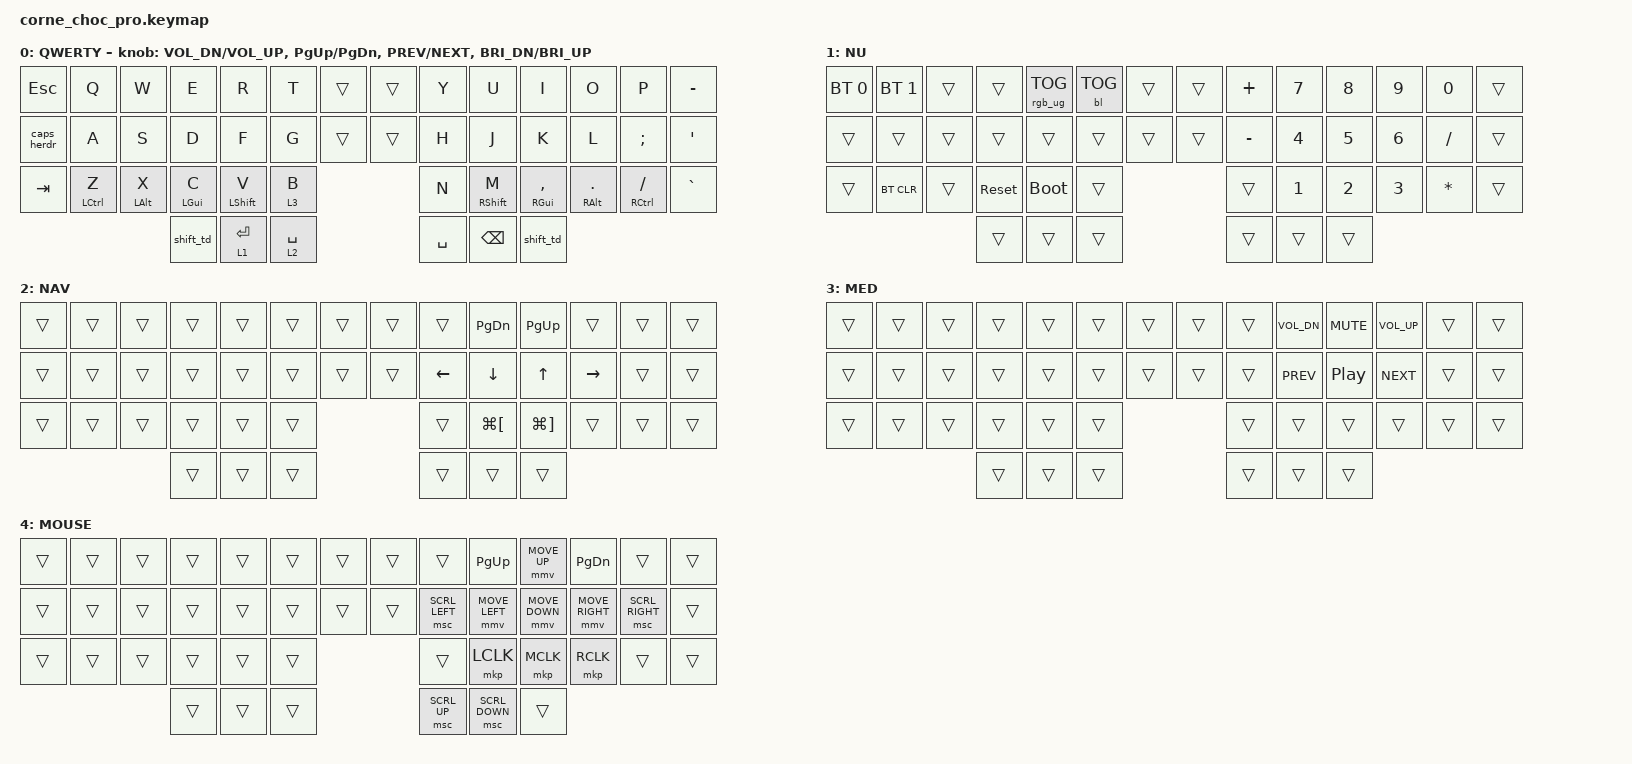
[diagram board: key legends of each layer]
/*
 * Copyright (c) 2020 The ZMK Contributors
 *
 * SPDX-License-Identifier: MIT
 */

#include <behaviors.dtsi>
#include <dt-bindings/zmk/backlight.h>
#include <dt-bindings/zmk/bt.h>
#include <dt-bindings/zmk/keys.h>
#include <dt-bindings/zmk/pointing.h>
#include <dt-bindings/zmk/rgb.h>

/ {
    chosen { zmk,physical-layout = &default_layout; };
};

/ {
    combos {
        compatible = "zmk,combos";

        caps_word {
            bindings = <&caps_word>;
            key-positions = <32 35>;
            timeout-ms = <30>;
            require-prior-idle-ms = <50>;
        };

        zoom_in {
            bindings = <&kp LG(PLUS)>;
            key-positions = <12 13>;
        };

        zoom_out {
            bindings = <&kp LG(MINUS)>;
            key-positions = <26 27>;
        };

        zoom_reset {
            bindings = <&kp LG(N0)>;
            key-positions = <38 39>;
        };

        left_paren {
            bindings = <&lpar_lt>;
            key-positions = <23 24>;
            timeout-ms = <30>;
            require-prior-idle-ms = <50>;
        };

        right_paren {
            bindings = <&rpar_gt>;
            key-positions = <24 25>;
            timeout-ms = <30>;
            require-prior-idle-ms = <50>;
        };

        left_bracket {
            bindings = <&kp LEFT_BRACKET>;
            key-positions = <35 36>;
        };

        right_bracket {
            bindings = <&kp RIGHT_BRACKET>;
            key-positions = <37 36>;
        };

        pipe {
            bindings = <&kp PIPE>;
            key-positions = <25 37>;
            timeout-ms = <30>;
            require-prior-idle-ms = <50>;
        };

        and {
            bindings = <&kp AMPS>;
            key-positions = <11 25>;
            timeout-ms = <30>;
            require-prior-idle-ms = <50>;
        };

        asteriks {
            bindings = <&kp ASTRK>;
            key-positions = <10 24>;
            timeout-ms = <30>;
            require-prior-idle-ms = <50>;
        };

        divide {
            bindings = <&kp SLASH>;
            key-positions = <24 36>;
            timeout-ms = <30>;
            require-prior-idle-ms = <50>;
        };

        plus {
            bindings = <&kp PLUS>;
            key-positions = <9 23>;
            timeout-ms = <30>;
            require-prior-idle-ms = <50>;
        };

        minus {
            bindings = <&kp MINUS>;
            key-positions = <23 35>;
            timeout-ms = <30>;
            require-prior-idle-ms = <50>;
        };

        carret {
            bindings = <&kp CARET>;
            key-positions = <8 22>;
            timeout-ms = <30>;
            require-prior-idle-ms = <50>;
        };

        under {
            bindings = <&kp UNDER>;
            key-positions = <22 34>;
            timeout-ms = <30>;
            require-prior-idle-ms = <50>;
        };

        percent {
            bindings = <&kp PERCENT>;
            key-positions = <5 19>;
            timeout-ms = <30>;
            require-prior-idle-ms = <50>;
        };

        tilde {
            bindings = <&kp TILDE>;
            key-positions = <19 33>;
            timeout-ms = <30>;
            require-prior-idle-ms = <50>;
        };

        dollar {
            bindings = <&kp DOLLAR>;
            key-positions = <4 18>;
            timeout-ms = <30>;
            require-prior-idle-ms = <50>;
        };

        equal {
            bindings = <&kp EQUAL>;
            key-positions = <18 19>;
            timeout-ms = <30>;
            require-prior-idle-ms = <50>;
        };

        hash {
            bindings = <&kp HASH>;
            key-positions = <17 3>;
            timeout-ms = <30>;
            require-prior-idle-ms = <50>;
        };

        backslash {
            bindings = <&kp BACKSLASH>;
            key-positions = <17 31>;
            timeout-ms = <30>;
            require-prior-idle-ms = <50>;
        };

        at {
            bindings = <&kp AT>;
            key-positions = <2 16>;
            timeout-ms = <30>;
            require-prior-idle-ms = <50>;
        };

        grave {
            bindings = <&kp GRAVE>;
            key-positions = <16 30>;
            timeout-ms = <30>;
            require-prior-idle-ms = <50>;
        };

        copy {
            bindings = <&kp LG(C)>;
            key-positions = <30 31>;
        };

        paste {
            bindings = <&kp LG(V)>;
            key-positions = <31 32>;
        };

        bang {
            bindings = <&kp EXCL>;
            key-positions = <16 17>;
            timeout-ms = <30>;
            require-prior-idle-ms = <50>;
        };

        questionmark {
            bindings = <&kp QUESTION>;
            key-positions = <17 18>;
            timeout-ms = <30>;
            require-prior-idle-ms = <50>;
        };

        cut {
            bindings = <&kp LG(X)>;
            key-positions = <30 32>;
        };

        mouseless_mouse {
            bindings = <&kp RIGHT_ALT>;
            key-positions = <23 24 25>;
        };

        mouseless_gui {
            bindings = <&kp RIGHT_GUI>;
            key-positions = <16 17 18>;
        };
    };

    behaviors {
        hml: homerow_mods_left {
            compatible = "zmk,behavior-hold-tap";
            label = "HOMEROW_MODS_LEFT";
            bindings = <&kp>, <&kp>;

            #binding-cells = <2>;
            tapping-term-ms = <280>;
            hold-trigger-key-positions = <7 8 9 10 11 12 13 21 22 23 24 25 26 27 34 35 36 37 38 39 43 44 45>;
            require-prior-idle-ms = <150>;
            flavor = "balanced";
            quick-tap-ms = <175>;
            hold-trigger-on-release;
        };

        hmr: homerow_mods_right {
            compatible = "zmk,behavior-hold-tap";
            label = "HOMEROW_MODS_RIGHT";
            bindings = <&kp>, <&kp>;

            #binding-cells = <2>;
            tapping-term-ms = <280>;
            hold-trigger-key-positions = <0 1 2 3 4 5 6 14 15 16 17 18 19 20 28 29 30 31 32 33 40 41 42>;
            require-prior-idle-ms = <150>;
            quick-tap-ms = <175>;
            flavor = "balanced";
            hold-trigger-on-release;
        };

        lpar_lt: lpar_lt {
            compatible = "zmk,behavior-mod-morph";
            label = "LPAR_LT";
            bindings = <&kp LPAR>, <&kp LT>;

            #binding-cells = <0>;
            mods = <(MOD_LSFT)>;
        };

        rpar_gt: rpar_gt {
            compatible = "zmk,behavior-mod-morph";
            label = "RPAR_GT";
            bindings = <&kp RPAR>, <&kp GT>;

            #binding-cells = <0>;
            mods = <(MOD_LSFT)>;
        };

        sl_mouse: sticky_layer_mouse {
            compatible = "zmk,behavior-sticky-key";
            #binding-cells = <1>;
            bindings = <&mo>;
            release-after-ms = <3000>;
            quick-release;
        };

        sk_shift: sticky_shift {
            compatible = "zmk,behavior-sticky-key";
            #binding-cells = <1>;
            bindings = <&kp>;
            release-after-ms = <1000>;
            quick-release;
        };

        shift_td: shift_tapdance {
            compatible = "zmk,behavior-tap-dance";
            label = "SHIFT_TAPDANCE";
            #binding-cells = <0>;
            tapping-term-ms = <200>;
            bindings = <&sk_shift LSHFT>, <&caps_word>;
        };

        caps_herdr: caps_or_herdr_prefix {
            compatible = "zmk,behavior-tap-dance";
            label = "CAPS_OR_HERDR_PREFIX";
            #binding-cells = <0>;
            tapping-term-ms = <200>;
            bindings = <&kp CAPSLOCK>, <&kp LC(B)>;
        };
    };

    keymap {
        compatible = "zmk,keymap";

        default_layer {
            display-name = "QWERTY";

            // --------------------------------------------------------------------------------
            // |  TAB |  Q  |  W  |  E  |  R  |  T  |  MUTE |  PP   |  Y  |  U   |  I  |  O  |  P  | BSPC |
            // | CTRL |  A  |  S  |  D  |  F  |  G  |  LALT |  RALT |  H  |  J   |  K  |  L  |  ;  |  '   |
            // | SHFT |  Z  |  X  |  C  |  V  |  B  |               |  N  |  M   |  ,  |  .  |  /  | ESC  |
            //                    | GUI | LWR | SPC |               | ENT | RSE  | ALT |

            bindings = <
&kp ESC              &kp Q                &kp W            &kp E            &kp R              &kp T        &trans  &trans  &kp Y      &kp U               &kp I                 &kp O               &kp P                     &kp MINUS
&caps_herdr          &kp A                &kp S            &kp D            &kp F              &kp G        &trans  &trans  &kp H      &kp J               &kp K                 &kp L               &kp SEMI                  &kp SQT
&kp TAB              &hml LEFT_CONTROL Z  &hml LEFT_ALT X  &hml LEFT_GUI C  &hml LEFT_SHIFT V  &lt 3 B                      &kp N      &hmr RIGHT_SHIFT M  &hmr RIGHT_GUI COMMA  &hmr RIGHT_ALT DOT  &hmr RIGHT_CONTROL SLASH  &kp GRAVE
                                                           &shift_td        &lt 1 ENTER        &lt 2 SPACE                  &kp SPACE  &kp BACKSPACE       &shift_td
            >;

            sensor-bindings = <&inc_dec_kp C_VOL_DN C_VOL_UP &inc_dec_kp PG_UP PG_DN &inc_dec_kp C_PREV C_NEXT &inc_dec_kp C_BRI_DN C_BRI_UP>;
        };

        num_pad {
            display-name = "NU";

            // -----------------------------------------------------------------------------------------
            // |  TAB |  1  |  2  |  3  |  4  |  5    |  LCTRL | RCTRL |  6  |  7  |  8  |  9  |  0  | BSPC |
            // | CTRL | BT1 | BT2 | BT3 | BT4 | BT5   |  LALT  | RALT  | LFT | DWN |  UP | RGT |     |      |
            // | SHFT | BTCR| RGB | RST | BOOT| Unlock|        |       |     |     |     |     |     |      |
            //                    | GUI |     | SPC   |        | ENT   |     | ALT |

            bindings = <
&bt BT_SEL 0  &bt BT_SEL 1  &trans  &trans      &rgb_ug RGB_TOG  &bl BL_TOG  &trans  &trans  &kp PLUS   &kp N7  &kp N8  &kp N9  &kp N0     &trans
&trans        &trans        &trans  &trans      &trans           &trans      &trans  &trans  &kp MINUS  &kp N4  &kp N5  &kp N6  &kp SLASH  &trans
&trans        &bt BT_CLR    &trans  &sys_reset  &bootloader      &trans                      &trans     &kp N1  &kp N2  &kp N3  &kp ASTRK  &trans
                                    &trans      &trans           &trans                      &trans     &trans  &trans
            >;
        };

        navigation {
            display-name = "NAV";
            bindings = <
&trans  &trans  &trans  &trans  &trans  &trans  &trans  &trans  &trans          &kp PAGE_DOWN         &kp PAGE_UP            &trans     &trans  &trans
&trans  &trans  &trans  &trans  &trans  &trans  &trans  &trans  &kp LEFT_ARROW  &kp DOWN_ARROW        &kp UP_ARROW           &kp RIGHT  &trans  &trans
&trans  &trans  &trans  &trans  &trans  &trans                  &trans          &kp LG(LEFT_BRACKET)  &kp LG(RIGHT_BRACKET)  &trans     &trans  &trans
                        &trans  &trans  &trans                  &trans          &trans                &trans
            >;
        };

        media {
            display-name = "MED";
            bindings = <
&trans  &trans  &trans  &trans  &trans  &trans  &trans  &trans  &trans  &kp C_VOL_DN  &kp C_MUTE  &kp C_VOL_UP  &trans  &trans
&trans  &trans  &trans  &trans  &trans  &trans  &trans  &trans  &trans  &kp C_PREV    &kp C_PP    &kp C_NEXT    &trans  &trans
&trans  &trans  &trans  &trans  &trans  &trans                  &trans  &trans        &trans      &trans        &trans  &trans
                        &trans  &trans  &trans                  &trans  &trans        &trans
            >;
        };

        mouse {
            display-name = "MOUSE";
            bindings = <
&trans  &trans  &trans  &trans  &trans  &trans  &trans  &trans  &trans          &kp PAGE_UP     &mmv MOVE_UP    &kp PAGE_DOWN    &trans           &trans
&trans  &trans  &trans  &trans  &trans  &trans  &trans  &trans  &msc SCRL_LEFT  &mmv MOVE_LEFT  &mmv MOVE_DOWN  &mmv MOVE_RIGHT  &msc SCRL_RIGHT  &trans
&trans  &trans  &trans  &trans  &trans  &trans                  &trans          &mkp LCLK       &mkp MCLK       &mkp RCLK        &trans           &trans
                        &trans  &trans  &trans                  &msc SCRL_UP    &msc SCRL_DOWN  &trans
            >;
        };
    };
};
